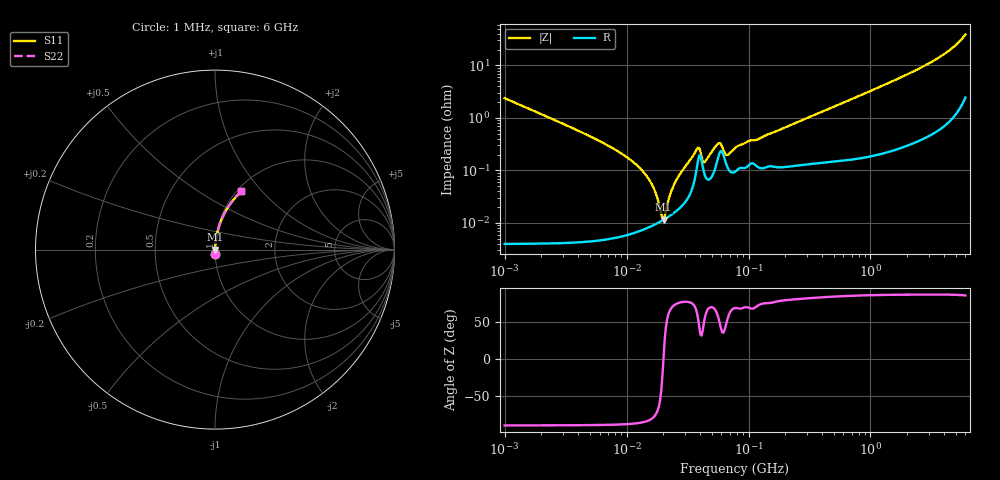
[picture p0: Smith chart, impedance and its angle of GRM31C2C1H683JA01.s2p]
!Murata Part Number: GRM31C2C1H683JA01
!These Parameters are Measured in Series Mode Connection
!Data Generated on Mar 30, 2021
!  o--ll--o
!Port1  Port2
!  o------o
!Operation Temp=25[degC], DC Bias Voltage=0[V]
!Freq. Start=1000[kHz] Stop=6[GHz] 401[Steps]
# Hz S RI R 50
!Freq.(Hz) S11(Real) S11(Imag) S21(Real) S21(Imag) S12(Real) S12(Imag) S22(Real) S22(Imag)
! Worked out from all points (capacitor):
!   401 points, 1 MHz to 6 GHz, reference 50 ohm
!   read as one part in series: C = 66.6 nF near 1.044 MHz
!   lowest |Z| = 11.5 mohm at 20.11 MHz (marker M1)
!   series resonance near 20.05 MHz, so ESL is about 950 pH
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1000000  0.000608 -0.0238  0.9994 0.0238  0.9994 0.0238  0.000608 -0.0238
4293785  7.14e-05 -0.00532  0.9999 0.00532  0.9999 0.00532  7.14e-05 -0.00532
8245209  5.83e-05 -0.00242  0.9999 0.00242  0.9999 0.00242  5.83e-05 -0.00242
1.219603e7  6.89e-05 -0.00125  0.9999 0.00125  0.9999 0.00125  6.89e-05 -0.00125
1.583299e7  8.65e-05 -0.00058  0.9999 0.00058  0.9999 0.00058  8.65e-05 -0.00058
1.727208e7  9.51e-05 -0.000366  0.9999 0.000366  0.9999 0.000366  9.51e-05 -0.000366
1.843659e7  0.000103 -0.000206  0.9999 0.000206  0.9999 0.000206  0.000103 -0.000206
1.925624e7  0.000109 -9.97e-05  0.9999 9.97e-05  0.9999 9.97e-05  0.000109 -9.97e-05
2.011232e7  0.000115 7.4e-06  0.9999 -7.4e-06  0.9999 -7.4e-06  0.000115 7.4e-06
2.291577e7  0.00014 0.000336  0.9999 -0.000336  0.9999 -0.000336  0.00014 0.000336
2.499862e7  0.000162 0.000568  0.9998 -0.000568  0.9998 -0.000568  0.000162 0.000568
3.779011e7  0.00117 0.00227  0.9988 -0.00227  0.9988 -0.00227  0.00117 0.00227
3.947016e7  0.00194 0.00182  0.9981 -0.00182  0.9981 -0.00182  0.00194 0.00182
4.400437e7  0.000792 0.00124  0.9992 -0.00124  0.9992 -0.00124  0.000792 0.00124
5.589783e7  0.00164 0.00276  0.9984 -0.00276  0.9984 -0.00276  0.00164 0.00276
5.838291e7  0.00226 0.00242  0.9977 -0.00242  0.9977 -0.00242  0.00226 0.00242
6.652088e7  0.00122 0.00154  0.9988 -0.00154  0.9988 -0.00154  0.00122 0.00154
7.745967e7  0.000949 0.0025  0.9991 -0.0025  0.9991 -0.0025  0.000949 0.0025
3.325952e8  0.00145 0.0109  0.9985 -0.0109  0.9985 -0.0109  0.00145 0.0109
1.428092e9  0.00447 0.0468  0.9955 -0.0468  0.9955 -0.0468  0.00447 0.0468
3.5601e9  0.0238 0.1332  0.9762 -0.1332  0.9762 -0.1332  0.0238 0.1332
6e9  0.1469 0.324  0.8531 -0.324  0.8531 -0.324  0.1469 0.324
